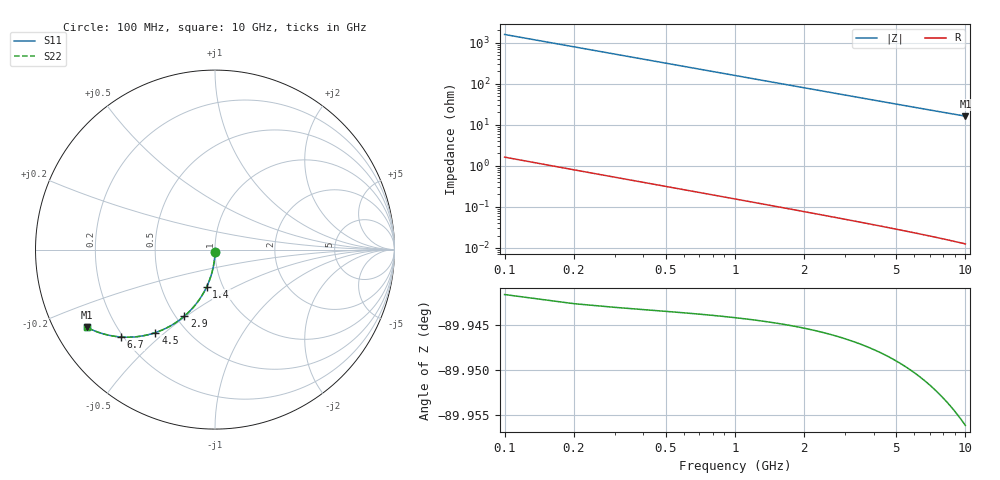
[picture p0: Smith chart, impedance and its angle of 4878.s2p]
# Hz S RI R 50.00
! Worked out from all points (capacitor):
!   100 points, 100 MHz to 10 GHz, reference 50 ohm
!   read as one part in shunt: C = 995 fF near 100 MHz
!   lowest |Z| = 16.3 ohm at 10 GHz (marker M1)
!   S11 on the Smith chart (normalised r, x): 100 MHz: 1.00, -0.03; 1.4 GHz: 0.84, -0.36; 2.9 GHz: 0.55, -0.49; 4.5 GHz: 0.34, -0.47; 6.7 GHz: 0.19, -0.38; 10 GHz: 0.10, -0.28
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1e8  -9.65e-05 -0.0154  0.9996 -0.0158  0.9996 -0.0158  -9.65e-05 -0.0154
2e8  -0.000843 -0.0309  0.9988 -0.0316  0.9988 -0.0316  -0.000843 -0.0309
3e8  -0.00208 -0.0463  0.9976 -0.0473  0.9976 -0.0473  -0.00208 -0.0463
4e8  -0.00379 -0.0616  0.9959 -0.063  0.9959 -0.063  -0.00379 -0.0616
5e8  -0.00598 -0.0768  0.9937 -0.0786  0.9937 -0.0786  -0.00598 -0.0768
6e8  -0.00864 -0.0919  0.991 -0.094  0.991 -0.094  -0.00864 -0.0919
7e8  -0.0118 -0.1069  0.9879 -0.1094  0.9879 -0.1094  -0.0118 -0.1069
9e8  -0.0194 -0.1363  0.9803 -0.1396  0.9803 -0.1396  -0.0194 -0.1363
1.1e9  -0.0287 -0.165  0.9709 -0.169  0.9709 -0.169  -0.0287 -0.165
1.4e9  -0.0457 -0.2063  0.9539 -0.2113  0.9539 -0.2113  -0.0457 -0.2063
1.8e9  -0.0735 -0.2574  0.9262 -0.2639  0.9262 -0.2639  -0.0735 -0.2574
2.3e9  -0.1146 -0.3142  0.885 -0.3224  0.885 -0.3224  -0.1146 -0.3142
2.9e9  -0.1708 -0.3708  0.8288 -0.3812  0.8288 -0.3812  -0.1708 -0.3708
3.4e9  -0.2207 -0.4082  0.7789 -0.4204  0.7789 -0.4204  -0.2207 -0.4082
3.9e9  -0.2715 -0.4373  0.728 -0.4514  0.728 -0.4514  -0.2715 -0.4373
4.5e9  -0.3318 -0.4623  0.6677 -0.4785  0.6677 -0.4785  -0.3318 -0.4623
5.1e9  -0.3896 -0.478  0.6099 -0.4964  0.6099 -0.4964  -0.3896 -0.478
5.9e9  -0.461 -0.4873  0.5384 -0.5086  0.5384 -0.5086  -0.461 -0.4873
6.7e9  -0.5248 -0.4867  0.4745 -0.5109  0.4745 -0.5109  -0.5248 -0.4867
7.5e9  -0.5809 -0.4792  0.4183 -0.5064  0.4183 -0.5064  -0.5809 -0.4792
8.4e9  -0.6354 -0.4654  0.3638 -0.4959  0.3638 -0.4959  -0.6354 -0.4654
1e10  -0.7127 -0.4335  0.2863 -0.4699  0.2863 -0.4699  -0.7127 -0.4335
